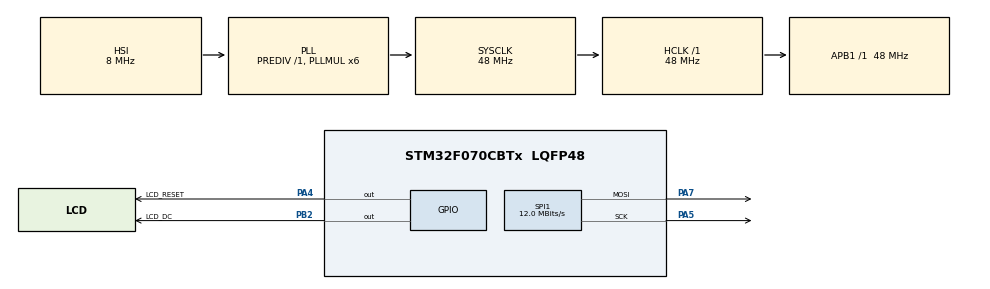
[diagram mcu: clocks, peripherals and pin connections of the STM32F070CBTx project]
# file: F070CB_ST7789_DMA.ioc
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Dma.Request0=SPI1_TX
Dma.SPI1_TX.0.Direction=DMA_MEMORY_TO_PERIPH
Dma.SPI1_TX.0.Instance=DMA1_Channel3
Dma.SPI1_TX.0.MemDataAlignment=DMA_MDATAALIGN_HALFWORD
Dma.SPI1_TX.0.MemInc=DMA_MINC_ENABLE
Dma.SPI1_TX.0.Mode=DMA_NORMAL
Dma.SPI1_TX.0.PeriphDataAlignment=DMA_PDATAALIGN_HALFWORD
Dma.SPI1_TX.0.PeriphInc=DMA_PINC_DISABLE
Dma.SPI1_TX.0.Priority=DMA_PRIORITY_HIGH
Mcu.Family=STM32F0
Mcu.Name=STM32F070CBTx
Mcu.Package=LQFP48
NVIC.DMA1_Channel2_3_IRQn=true\:0\:0\:false\:false\:true\:false\:true\:true
PA13.Mode=Serial_Wire
PA13.Signal=SYS_SWDIO
PA14.Mode=Serial_Wire
PA14.Signal=SYS_SWCLK
PA4.GPIO_Label=LCD_RESET
PA4.GPIO_Speed=GPIO_SPEED_FREQ_MEDIUM
PA4.PinState=GPIO_PIN_SET
PA4.Signal=GPIO_Output
PA5.Mode=TX_Only_Simplex_Unidirect_Master
PA5.Signal=SPI1_SCK
PA7.Mode=TX_Only_Simplex_Unidirect_Master
PA7.Signal=SPI1_MOSI
PB2.GPIO_Label=LCD_DC
PB2.GPIO_Speed=GPIO_SPEED_FREQ_MEDIUM
PB2.Signal=GPIO_Output
ProjectManager.HeapSize=0x200
ProjectManager.StackSize=0x400
ProjectManager.TargetToolchain=STM32CubeIDE
RCC.AHBFreq_Value=48000000
RCC.APB1Freq_Value=48000000
RCC.APB1TimFreq_Value=48000000
RCC.HCLKFreq_Value=48000000
RCC.PLLMUL=RCC_PLL_MUL6
RCC.SYSCLKFreq_VALUE=48000000
RCC.SYSCLKSource=RCC_SYSCLKSOURCE_PLLCLK
SPI1.BaudRatePrescaler=SPI_BAUDRATEPRESCALER_4
SPI1.CLKPhase=SPI_PHASE_2EDGE
SPI1.CLKPolarity=SPI_POLARITY_HIGH
SPI1.CalculateBaudRate=12.0 MBits/s
SPI1.DataSize=SPI_DATASIZE_8BIT
SPI1.Direction=SPI_DIRECTION_2LINES
SPI1.Mode=SPI_MODE_MASTER
SPI1.VirtualType=VM_MASTER
board=custom

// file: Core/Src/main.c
/* USER CODE BEGIN Header */
/**
  ******************************************************************************
  * @file           : main.c
  * @brief          : Main program body
  ******************************************************************************
  * @attention
  *
  * Copyright (c) 2024 STMicroelectronics.
  * All rights reserved.
  *
  * This software is licensed under terms that can be found in the LICENSE file
  * in the root directory of this software component.
  * If no LICENSE file comes with this software, it is provided AS-IS.
  *
  ******************************************************************************
  */
/* USER CODE END Header */
#include "main.h"

/* USER CODE BEGIN Includes */

#include <stdlib.h>
#include <math.h>
#include "ST7789.h"
#include "logo.h"
#include "icons.h"

/* USER CODE END Includes */

/* USER CODE BEGIN PD */

#define FRAMES_PER_LOGO_BUFFER    LOGO_IMAGE_WIDTH * LOGO_SQUARE_SIDE
#define BUFFERS_PER_LOGO          LOGO_IMAGE_HEIGHT / LOGO_SQUARE_SIDE
#define FRAMES_PER_ICON_BUFFER    ICONS_IMAGE_WIDTH * ICONS_SQUARE_SIDE
#define BUFFERS_PER_ICON          ICONS_IMAGE_HEIGHT / ICONS_SQUARE_SIDE

#define PRANDOM(x)	(uint32_t)round((double)random() * (double)(x-1) / (double)RAND_MAX)

/* USER CODE END PD */

SPI_HandleTypeDef hspi1;
DMA_HandleTypeDef hdma_spi1_tx;

/* USER CODE BEGIN PV */

// Icons list
static const uint8_t * icons[25] = { accessData,
                                     bluetoothData,
                                     bugData,
                                     buildData,
                                     cableData,
                                     checkData,
                                     cloudData,
                                     editData,
                                     emojiData,
                                     errorData,
                                     handData,
                                     lightbulbData,
                                     memoryData,
                                     notificationsData,
                                     personData,
                                     phoneData,
                                     powerData,
                                     sdData,
                                     smsData,
                                     starData,
                                     syncData,
                                     thermostatData,
                                     thumbData,
                                     warningData,
                                     wifiData };

// Color gradients for smoothing edges
static const uint16_t colors[7][3] = { { 0x5000, 0xA800, 0xF800 },    // Red
                                       { 0x02A0, 0x0540, 0x07E0 },    // Green
                                       { 0x000A, 0x0015, 0x001F },    // Blue
                                       { 0x52A0, 0xAD40, 0xFFE0 },    // Yellow
                                       { 0x02AA, 0x0555, 0x7FFF },    // Cyan
                                       { 0x500A, 0xA815, 0xF81F },    // Magenta
                                       { 0x52AA, 0xAD55, 0xFFFF } };  // White

// Current icon parameters
uint8_t currentColor;
uint8_t x = 0;
uint8_t y = 0;

/* USER CODE END PV */

void SystemClock_Config(void);
static void MX_GPIO_Init(void);
static void MX_DMA_Init(void);
static void MX_SPI1_Init(void);

int main(void)
{

  /* MCU Configuration--------------------------------------------------------*/

  /* Reset of all peripherals, Initializes the Flash interface and the Systick. */
  HAL_Init();

  /* Configure the system clock */
  SystemClock_Config();

  /* Initialize all configured peripherals */
  MX_GPIO_Init();
  MX_DMA_Init();
  MX_SPI1_Init();
  /* USER CODE BEGIN 2 */

  ST7789_initWithParams(1, LITTLE_ENDIAN); // Rotate 90 counterclockwise, set display Little Endian data format

  // Draw Application logo
  ST7789_begin();
  ST7789_setWindow(x, y, LOGO_IMAGE_WIDTH, LOGO_IMAGE_HEIGHT);
  // Set the width of our buffer for correct logo decompression
  decompressionBufferWidth = LOGO_IMAGE_WIDTH;
  for (uint8_t i = 0; i < BUFFERS_PER_LOGO; i++)
  {
#if defined (ST7789_USE_BUFFERING)
	uint16_t * currentScreenBuffer = ST7789_getPixelBuffer();
#else
	uint16_t currentScreenBuffer[FRAMES_PER_LOGO_BUFFER];
#endif
	// Decompress one buffer
    decompressNextFrames((DecompressionContext *)&logoDC, (uint8_t *)logoData, currentScreenBuffer, FRAMES_PER_LOGO_BUFFER, false);
    // And display it
    ST7789_writePixels(currentScreenBuffer, FRAMES_PER_LOGO_BUFFER, LITTLE_ENDIAN);
  }

  ST7789_end();

  HAL_Delay(5000);

  // Clear screen
  ST7789_begin();
  ST7789_fillColor(0);
  ST7789_end();
  // Set the width of our buffer for correct icons decompression
  decompressionBufferWidth = ICONS_IMAGE_WIDTH;

  /* USER CODE END 2 */

  /* Infinite loop */
  while (1)
  {

    /* USER CODE BEGIN 3 */

	  // Display 30 random icons
	  for (uint8_t i = 0; i < 30; i++)
	  {
	    ST7789_begin();
	    ST7789_setWindow(x, y, ICONS_IMAGE_WIDTH, ICONS_IMAGE_HEIGHT);
	    resetDecompression();
	    uint8_t * currentIcon = (uint8_t *)icons[PRANDOM(25)];
	    currentColor = (uint8_t)PRANDOM(7);

	    // Draw single icon
	    for (uint8_t j = 0; j < BUFFERS_PER_ICON; j++)
	    {
#if defined (ST7789_USE_BUFFERING)
          uint16_t * currentScreenBuffer = ST7789_getPixelBuffer();
#else
          uint16_t currentScreenBuffer[FRAMES_PER_ICON_BUFFER];
#endif
	      // Decompress one buffer
	      decompressNextFrames((DecompressionContext *)&iconsDC, currentIcon, currentScreenBuffer, FRAMES_PER_ICON_BUFFER, true);
	      // And display it
	      ST7789_writePixels(currentScreenBuffer, FRAMES_PER_ICON_BUFFER, LITTLE_ENDIAN);
	    }
	    ST7789_end();
	    HAL_Delay(10);
	  }

	  // Finally move to the next icon position
	  x += ICONS_IMAGE_WIDTH;
	  if (x >= ST7789_DISPLAY_WIDTH) {
	    x = 0;
	    y += ICONS_IMAGE_HEIGHT;
	    if (y >= ST7789_DISPLAY_HEIGHT) y = 0;
	  }

  }
  /* USER CODE END 3 */
}

void SystemClock_Config(void)
{
  RCC_OscInitTypeDef RCC_OscInitStruct = {0};
  RCC_ClkInitTypeDef RCC_ClkInitStruct = {0};

  /** Initializes the RCC Oscillators according to the specified parameters
  * in the RCC_OscInitTypeDef structure.
  */
  RCC_OscInitStruct.OscillatorType = RCC_OSCILLATORTYPE_HSI;
  RCC_OscInitStruct.HSIState = RCC_HSI_ON;
  RCC_OscInitStruct.HSICalibrationValue = RCC_HSICALIBRATION_DEFAULT;
  RCC_OscInitStruct.PLL.PLLState = RCC_PLL_ON;
  RCC_OscInitStruct.PLL.PLLSource = RCC_PLLSOURCE_HSI;
  RCC_OscInitStruct.PLL.PLLMUL = RCC_PLL_MUL6;
  RCC_OscInitStruct.PLL.PREDIV = RCC_PREDIV_DIV1;
  if (HAL_RCC_OscConfig(&RCC_OscInitStruct) != HAL_OK)
  {
    Error_Handler();
  }

  /** Initializes the CPU, AHB and APB buses clocks
  */
  RCC_ClkInitStruct.ClockType = RCC_CLOCKTYPE_HCLK|RCC_CLOCKTYPE_SYSCLK
                              |RCC_CLOCKTYPE_PCLK1;
  RCC_ClkInitStruct.SYSCLKSource = RCC_SYSCLKSOURCE_PLLCLK;
  RCC_ClkInitStruct.AHBCLKDivider = RCC_SYSCLK_DIV1;
  RCC_ClkInitStruct.APB1CLKDivider = RCC_HCLK_DIV1;

  if (HAL_RCC_ClockConfig(&RCC_ClkInitStruct, FLASH_LATENCY_1) != HAL_OK)
  {
    Error_Handler();
  }
}

static void MX_SPI1_Init(void)
{

  /* SPI1 parameter configuration*/
  hspi1.Instance = SPI1;
  hspi1.Init.Mode = SPI_MODE_MASTER;
  hspi1.Init.Direction = SPI_DIRECTION_2LINES;
  hspi1.Init.DataSize = SPI_DATASIZE_8BIT;
  hspi1.Init.CLKPolarity = SPI_POLARITY_HIGH;
  hspi1.Init.CLKPhase = SPI_PHASE_2EDGE;
  hspi1.Init.NSS = SPI_NSS_SOFT;
  hspi1.Init.BaudRatePrescaler = SPI_BAUDRATEPRESCALER_4;
  hspi1.Init.FirstBit = SPI_FIRSTBIT_MSB;
  hspi1.Init.TIMode = SPI_TIMODE_DISABLE;
  hspi1.Init.CRCCalculation = SPI_CRCCALCULATION_DISABLE;
  hspi1.Init.CRCPolynomial = 7;
  hspi1.Init.CRCLength = SPI_CRC_LENGTH_DATASIZE;
  hspi1.Init.NSSPMode = SPI_NSS_PULSE_DISABLE;
  if (HAL_SPI_Init(&hspi1) != HAL_OK)
  {
    Error_Handler();
  }

}

static void MX_DMA_Init(void)
{

  /* DMA controller clock enable */
  __HAL_RCC_DMA1_CLK_ENABLE();

  /* DMA interrupt init */
  /* DMA1_Channel2_3_IRQn interrupt configuration */
  HAL_NVIC_SetPriority(DMA1_Channel2_3_IRQn, 0, 0);
  HAL_NVIC_EnableIRQ(DMA1_Channel2_3_IRQn);

}

static void MX_GPIO_Init(void)
{
  GPIO_InitTypeDef GPIO_InitStruct = {0};

  /* GPIO Ports Clock Enable */
  __HAL_RCC_GPIOC_CLK_ENABLE();
  __HAL_RCC_GPIOF_CLK_ENABLE();
  __HAL_RCC_GPIOA_CLK_ENABLE();
  __HAL_RCC_GPIOB_CLK_ENABLE();

  /*Configure GPIO pin Output Level */
  HAL_GPIO_WritePin(LCD_RESET_GPIO_Port, LCD_RESET_Pin, GPIO_PIN_SET);

  /*Configure GPIO pin Output Level */
  HAL_GPIO_WritePin(LCD_DC_GPIO_Port, LCD_DC_Pin, GPIO_PIN_RESET);

  /*Configure GPIO pins : PC13 PC14 PC15 */
  GPIO_InitStruct.Pin = GPIO_PIN_13|GPIO_PIN_14|GPIO_PIN_15;
  GPIO_InitStruct.Mode = GPIO_MODE_ANALOG;
  GPIO_InitStruct.Pull = GPIO_NOPULL;
  HAL_GPIO_Init(GPIOC, &GPIO_InitStruct);

  /*Configure GPIO pins : PF0 PF1 */
  GPIO_InitStruct.Pin = GPIO_PIN_0|GPIO_PIN_1;
  GPIO_InitStruct.Mode = GPIO_MODE_ANALOG;
  GPIO_InitStruct.Pull = GPIO_NOPULL;
  HAL_GPIO_Init(GPIOF, &GPIO_InitStruct);

  /*Configure GPIO pins : PA0 PA1 PA2 PA3
                           PA6 PA8 PA9 PA10
                           PA11 PA12 PA15 */
  GPIO_InitStruct.Pin = GPIO_PIN_0|GPIO_PIN_1|GPIO_PIN_2|GPIO_PIN_3
                          |GPIO_PIN_6|GPIO_PIN_8|GPIO_PIN_9|GPIO_PIN_10
                          |GPIO_PIN_11|GPIO_PIN_12|GPIO_PIN_15;
  GPIO_InitStruct.Mode = GPIO_MODE_ANALOG;
  GPIO_InitStruct.Pull = GPIO_NOPULL;
  HAL_GPIO_Init(GPIOA, &GPIO_InitStruct);

  /*Configure GPIO pin : LCD_RESET_Pin */
  GPIO_InitStruct.Pin = LCD_RESET_Pin;
  GPIO_InitStruct.Mode = GPIO_MODE_OUTPUT_PP;
  GPIO_InitStruct.Pull = GPIO_NOPULL;
  GPIO_InitStruct.Speed = GPIO_SPEED_FREQ_MEDIUM;
  HAL_GPIO_Init(LCD_RESET_GPIO_Port, &GPIO_InitStruct);

  /*Configure GPIO pins : PB0 PB1 PB10 PB11
                           PB12 PB13 PB14 PB15
                           PB3 PB4 PB5 PB6
                           PB7 PB8 PB9 */
  GPIO_InitStruct.Pin = GPIO_PIN_0|GPIO_PIN_1|GPIO_PIN_10|GPIO_PIN_11
                          |GPIO_PIN_12|GPIO_PIN_13|GPIO_PIN_14|GPIO_PIN_15
                          |GPIO_PIN_3|GPIO_PIN_4|GPIO_PIN_5|GPIO_PIN_6
                          |GPIO_PIN_7|GPIO_PIN_8|GPIO_PIN_9;
  GPIO_InitStruct.Mode = GPIO_MODE_ANALOG;
  GPIO_InitStruct.Pull = GPIO_NOPULL;
  HAL_GPIO_Init(GPIOB, &GPIO_InitStruct);

  /*Configure GPIO pin : LCD_DC_Pin */
  GPIO_InitStruct.Pin = LCD_DC_Pin;
  GPIO_InitStruct.Mode = GPIO_MODE_OUTPUT_PP;
  GPIO_InitStruct.Pull = GPIO_NOPULL;
  GPIO_InitStruct.Speed = GPIO_SPEED_FREQ_MEDIUM;
  HAL_GPIO_Init(LCD_DC_GPIO_Port, &GPIO_InitStruct);

}

/* USER CODE BEGIN 4 */

// Delegate method for coloring a pixel in the current color
uint16_t colorizePixel(uint16_t frame) {
  uint16_t pixelColor = (frame == 0) ? 0 : colors[currentColor][frame - 1];
  return (pixelColor);
}

/* USER CODE END 4 */

void Error_Handler(void)
{
  __disable_irq();
  while (1)
  {
  }
}
